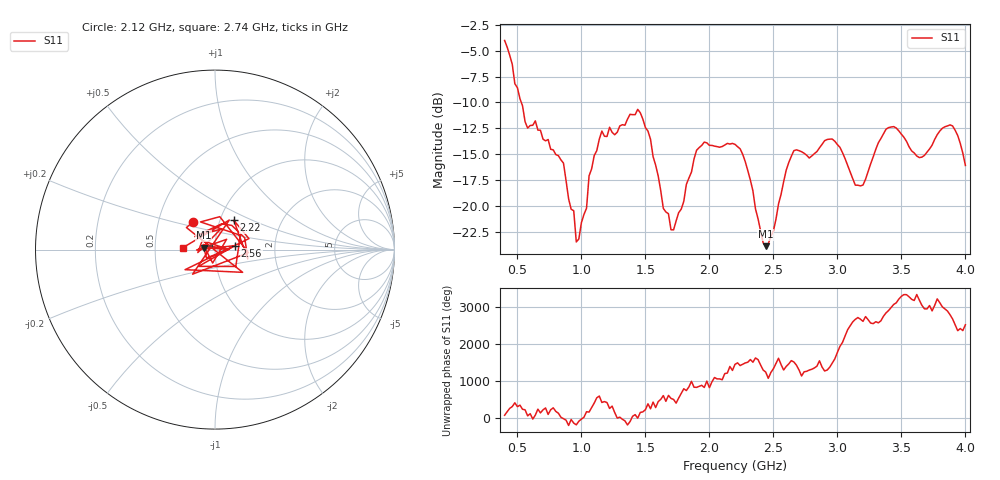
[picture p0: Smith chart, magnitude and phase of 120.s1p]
!Created with skrf (http://scikit-rf.org).
# Hz S RI R 50.0
!freq ReS11 ImS11
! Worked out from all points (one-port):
!   181 points, 400 MHz to 4 GHz, reference 50 ohm
!   lowest |S11| = -23.9 dB at 2.44 GHz (marker M1), VSWR 1.14, Z = 44.1 + j1.02 ohm
!   |S11| at or under -10 dB: 530.7 MHz to end of sweep
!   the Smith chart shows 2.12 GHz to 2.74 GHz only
!   S11 on the Smith chart (normalised r, x): 2.12 GHz: 0.75, +0.24; 2.22 GHz: 1.16, +0.39; 2.56 GHz: 1.25, +0.06; 2.74 GHz: 0.70, +0.01
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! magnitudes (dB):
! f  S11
! 400 MHz  -4.0
! 580 MHz  -12.5
! 640 MHz  -11.8
! 860 MHz  -15.8
! 940 MHz  -20.4
! 960 MHz  -23.4
! 1.16 GHz  -12.8
! 1.3 GHz  -12.3
! 1.46 GHz  -11.0
! 1.54 GHz  -13.5
! 1.7 GHz  -22.3
! 1.76 GHz  -20.6
! 1.9 GHz  -14.6
! 2.12 GHz  -14.1
! 2.2 GHz  -14.0
! 2.22 GHz  -14.3
! 2.44 GHz  -23.9
! 2.56 GHz  -18.8
! 2.66 GHz  -14.6
! 2.74 GHz  -14.9
! 2.96 GHz  -13.5
! 3.1 GHz  -16.7
! 3.2 GHz  -18.0
! 3.4 GHz  -12.4
! 3.56 GHz  -14.3
! 3.66 GHz  -15.3
! 3.88 GHz  -12.2
! 4 GHz  -16.1
